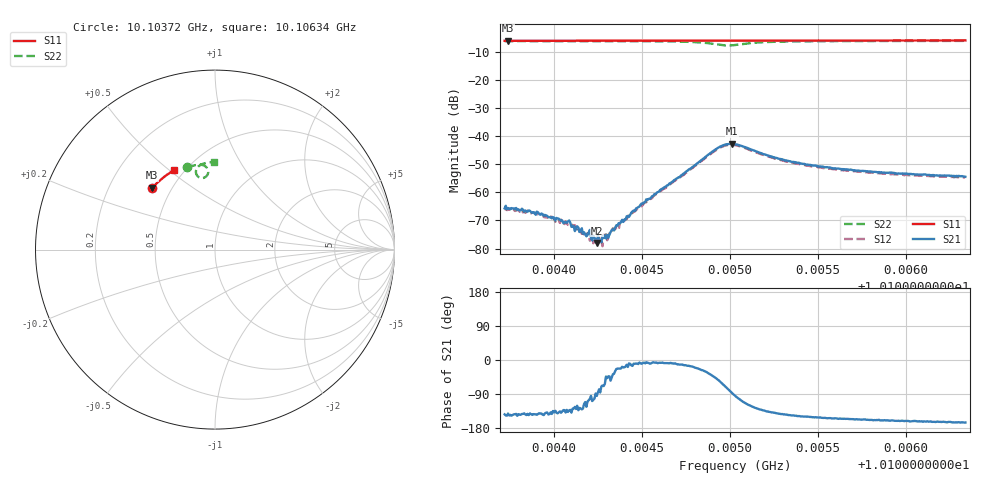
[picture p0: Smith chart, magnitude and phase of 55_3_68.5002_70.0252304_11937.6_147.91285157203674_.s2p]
#  HZ  S  RI  R  50.00
! Rohde & Schwarz Vector Network Analyzer
! Rohde-Schwarz,ZNB20-2Port,1311601062101988,3.16
! Created: UTC 3/20/2024, 4:51:01 PM
! freq[Hz]  re:S11  im:S11  re:S21  im:S21  re:S12  im:S12  re:S22  im:S22
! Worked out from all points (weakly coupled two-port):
!   401 points, 10.10372 GHz to 10.10634 GHz, reference 50 ohm
!   highest |S21| = -42.75 dB at 10.10501 GHz (marker M1); lowest = -78.1 dB at 10.10425 GHz (marker M2)
!   lowest |S11| = -6.2 dB at 10.10374 GHz (marker M3), VSWR 2.93, Z = 19.6 + j17.8 ohm
!   |S11| at or under -10 dB: nowhere
!   |S22| runs from -7.9 to -6.2 dB; largest |S21 - S12| = 0.00074
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1.0103722e10  -0.35 0.3439  -0.000416 -0.000308  -0.000382 -0.00033  -0.1532 0.458
1.0103742e10  -0.3492 0.3445  -0.000409 -0.000329  -0.000404 -0.000328  -0.152 0.4585
1.0103918e10  -0.3418 0.3527  -0.000315 -0.000261  -0.000285 -0.000274  -0.14 0.4626
1.0103984e10  -0.3391 0.3554  -0.000269 -0.000242  -0.00026 -0.000262  -0.1355 0.4641
1.0104082e10  -0.3349 0.3597  -0.000222 -0.000207  -0.000165 -0.000206  -0.1285 0.466
1.0104114e10  -0.3335 0.3612  -0.000152 -0.000194  -0.000145 -0.000213  -0.126 0.4667
1.010416e10  -0.3316 0.3631  -0.000149 -0.000175  -9.2e-05 -0.000158  -0.1227 0.4677
1.0104206e10  -0.3296 0.365  -4.75e-05 -0.00021  -2.03e-05 -0.000137  -0.1192 0.4686
1.0104219e10  -0.3289 0.3655  -4.42e-05 -0.000133  -2.15e-05 -0.000167  -0.1184 0.4689
1.0104245e10  -0.328 0.3667  -1.06e-05 -0.000125  3.16e-05 -0.000149  -0.1162 0.4694
1.0104265e10  -0.327 0.3677  1.05e-05 -0.000142  3.73e-05 -0.000122  -0.1146 0.4697
1.0104317e10  -0.3246 0.3698  0.00013 -0.000121  0.00015 -0.000112  -0.1103 0.4706
1.010433e10  -0.3241 0.3703  0.000149 -0.000155  0.000184 -8.55e-05  -0.1092 0.4708
1.0104435e10  -0.3195 0.3746  0.000391 -7.1e-05  0.000374 -7.79e-05  -0.1 0.4723
1.0104599e10  -0.3121 0.3814  0.00102 -0.000127  0.000996 -4.82e-05  -0.0828 0.4731
1.0104919e10  -0.2971 0.3938  0.00394 -0.00421  0.00413 -0.00369  -0.0388 0.4254
1.0105011e10  -0.293 0.397  0.000536 -0.00727  0.00111 -0.00689  -0.0783 0.399
1.010503e10  -0.2922 0.3978  -0.000499 -0.00713  0.000146 -0.00688  -0.0885 0.4026
1.0105272e10  -0.2806 0.4071  -0.00311 -0.00253  -0.00275 -0.00268  -0.0928 0.4632
1.0105469e10  -0.2711 0.4143  -0.00264 -0.00147  -0.00238 -0.00164  -0.0725 0.4757
1.0105907e10  -0.2491 0.4291  -0.00209 -0.000763  -0.00193 -0.00092  -0.0369 0.4849
1.0106339e10  -0.2265 0.4425  -0.00182 -0.00049  -0.00171 -0.000642  -0.00647 0.4884
